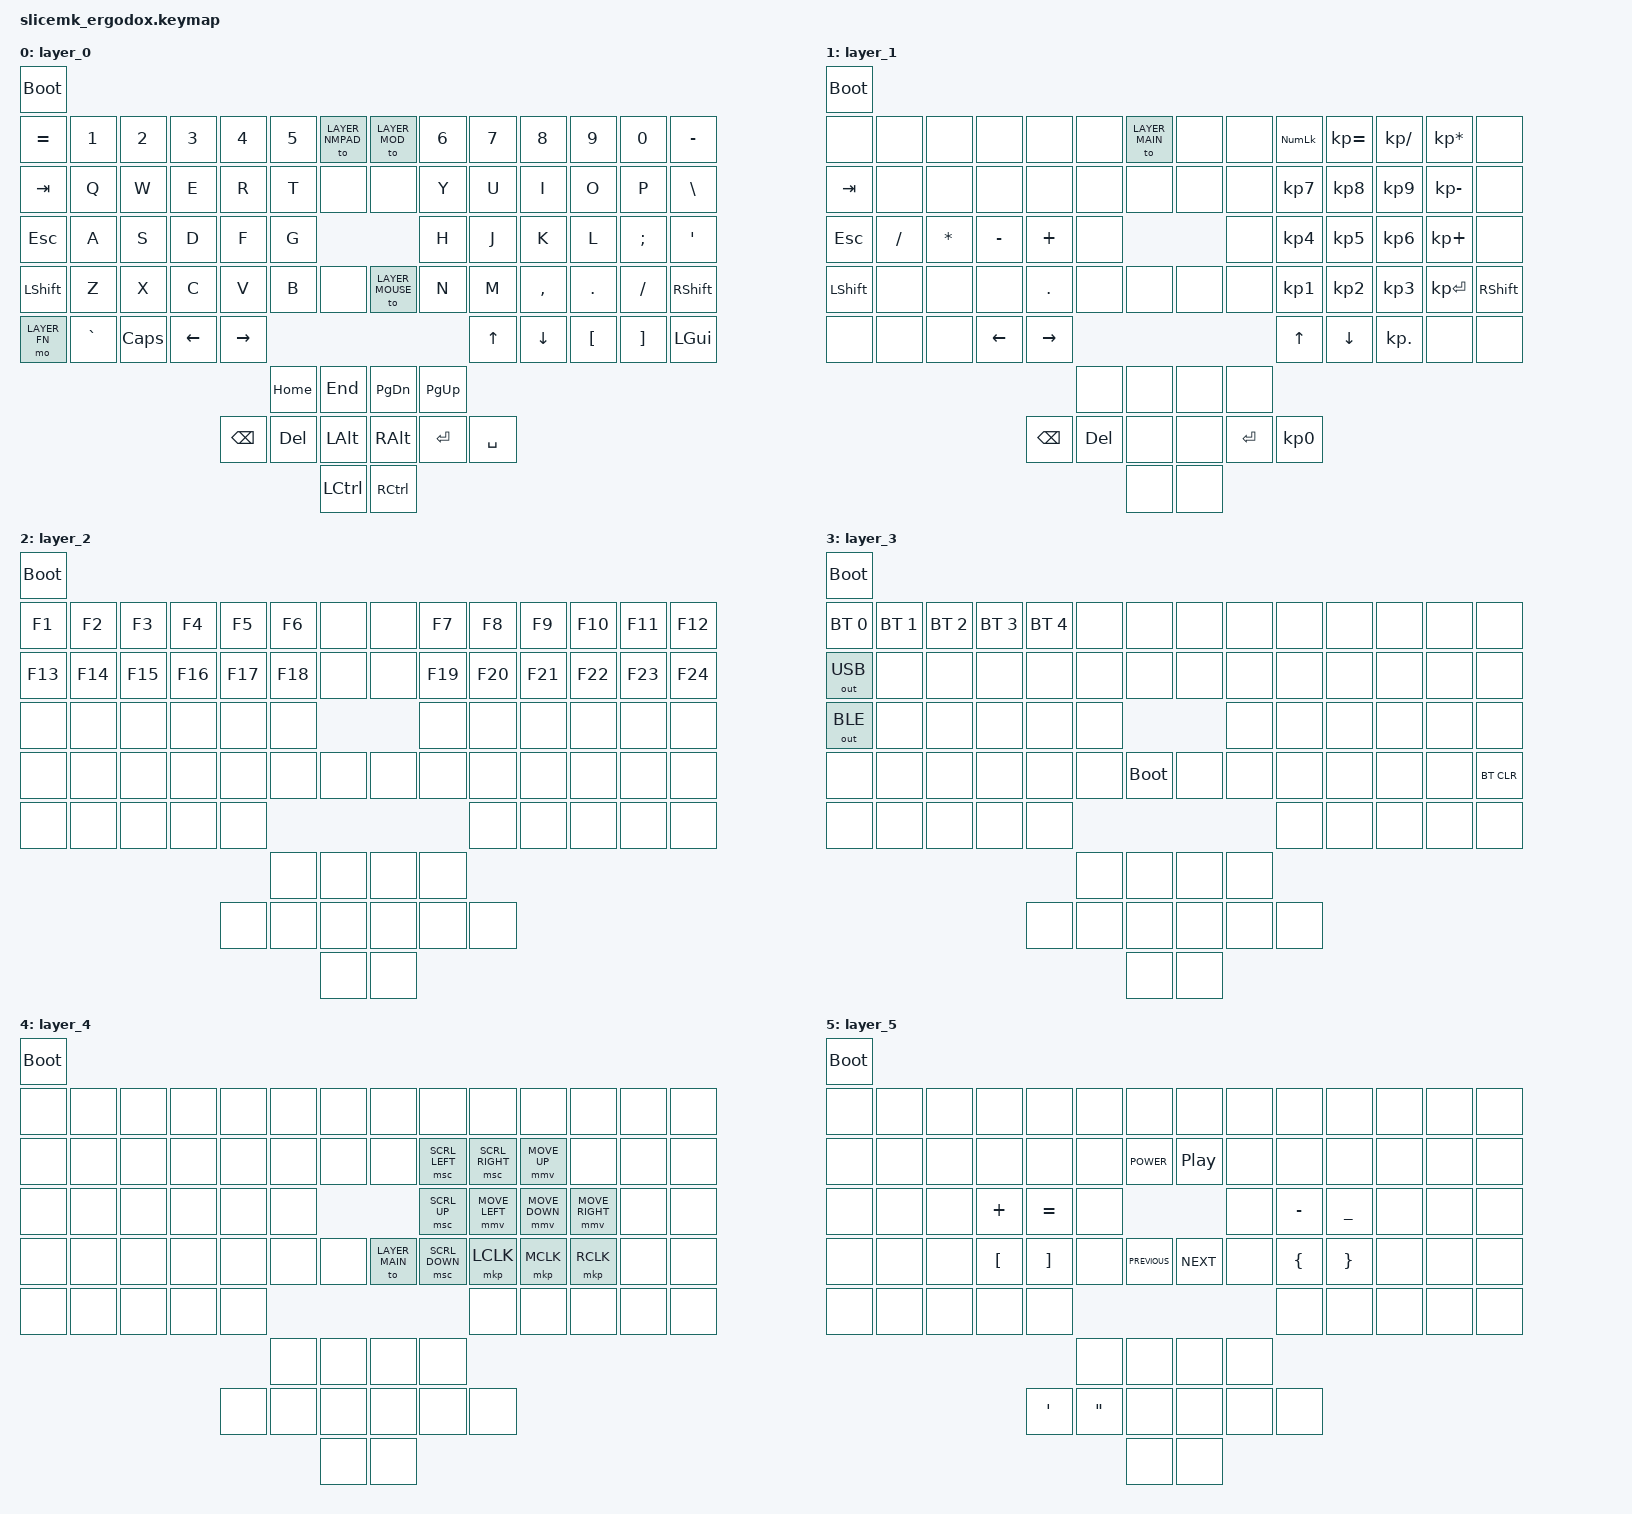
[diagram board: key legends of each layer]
#define LAYER_MAIN 0
#define LAYER_NMPAD 1
#define LAYER_FN 2
#define LAYER_MOD 3
#define LAYER_MOUSE 4
#define LAYER_SYMB 5

#include <behaviors.dtsi>
#include <dt-bindings/zmk/bt.h>
#include <dt-bindings/zmk/keys.h>
#include <dt-bindings/zmk/mouse.h>
#include <dt-bindings/zmk/outputs.h>
#include <dt-bindings/zmk/rgb.h>

/ {
    keymap {
        compatible = "zmk,keymap";
        layer_0 {
            bindings = <
                &bootloader
                &kp EQUAL      &kp NUMBER_1 &kp NUMBER_2 &kp NUMBER_3   &kp NUMBER_4    &kp NUMBER_5 &to LAYER_NMPAD  &to LAYER_MOD     &kp NUMBER_6 &kp NUMBER_7 &kp NUMBER_8   &kp NUMBER_9     &kp NUMBER_0      &kp MINUS
                &kp TAB        &kp Q        &kp W        &kp E          &kp R           &kp T        &none            &none             &kp Y        &kp U        &kp I          &kp O            &kp P             &kp BACKSLASH
                &kp ESCAPE     &kp A        &kp S        &kp D          &kp F           &kp G                                           &kp H        &kp J        &kp K          &kp L            &kp SEMICOLON     &kp SINGLE_QUOTE
                &kp LEFT_SHIFT &kp Z        &kp X        &kp C          &kp V           &kp B        &none            &to LAYER_MOUSE   &kp N        &kp M        &kp COMMA      &kp PERIOD       &kp SLASH         &kp RIGHT_SHIFT
                &mo LAYER_FN   &kp GRAVE    &kp CAPSLOCK &kp LEFT_ARROW &kp RIGHT_ARROW                                                              &kp UP_ARROW &kp DOWN_ARROW &kp LEFT_BRACKET &kp RIGHT_BRACKET &kp LEFT_GUI
                                                                                        &kp HOME     &kp END          &kp PAGE_DOWN     &kp PAGE_UP
                                                                        &kp BACKSPACE   &kp DELETE   &kp LEFT_ALT     &kp RIGHT_ALT     &kp RETURN   &kp SPACE
                                                                                                     &kp LEFT_CONTROL &kp RIGHT_CONTROL
            >;
        };
        layer_1 {
            bindings = <
                &bootloader
                &none          &none     &none        &none          &none           &none      &to LAYER_MAIN &none &none      &kp KP_NUMLOCK  &kp KP_EQUAL    &kp KP_DIVIDE   &kp KP_MULTIPLY &none
                &kp TAB        &none     &none        &none          &none           &none      &none          &none &none      &kp KP_NUMBER_7 &kp KP_NUMBER_8 &kp KP_NUMBER_9 &kp KP_MINUS    &none
                &kp ESCAPE     &kp SLASH &kp ASTERISK &kp MINUS      &kp PLUS        &none                           &none      &kp KP_NUMBER_4 &kp KP_NUMBER_5 &kp KP_NUMBER_6 &kp KP_PLUS     &none
                &kp LEFT_SHIFT &none     &none        &none          &kp PERIOD      &none      &none          &none &none      &kp KP_NUMBER_1 &kp KP_NUMBER_2 &kp KP_NUMBER_3 &kp KP_ENTER    &kp RIGHT_SHIFT
                &none          &none     &none        &kp LEFT_ARROW &kp RIGHT_ARROW                                            &kp UP_ARROW    &kp DOWN_ARROW  &kp KP_DOT      &none           &none
                                                                                     &none      &none          &none &none
                                                                     &kp BACKSPACE   &kp DELETE &none          &none &kp RETURN &kp KP_NUMBER_0
                                                                                                &none          &none
            >;
        };
        layer_2 {
            bindings = <
                &bootloader
                &kp F1  &kp F2  &kp F3  &kp F4  &kp F5  &kp F6  &none &none &kp F7  &kp F8  &kp F9  &kp F10 &kp F11 &kp F12
                &kp F13 &kp F14 &kp F15 &kp F16 &kp F17 &kp F18 &none &none &kp F19 &kp F20 &kp F21 &kp F22 &kp F23 &kp F24
                &none   &none   &none   &none   &none   &none               &none   &none   &none   &none   &none   &none
                &none   &none   &none   &none   &none   &none   &none &none &none   &none   &none   &none   &none   &none
                &none   &none   &none   &none   &none                               &none   &none   &none   &none   &none
                                                        &none   &none &none &none
                                                &none   &none   &none &none &none   &none
                                                                &none &none
            >;
        };
        layer_3 {
            bindings = <
                &bootloader
                &bt BT_SEL 0 &bt BT_SEL 1 &bt BT_SEL 2 &bt BT_SEL 3 &bt BT_SEL 4 &none &none       &none &none &none &none &none &none &none
                &out OUT_USB &none        &none        &none        &none        &none &none       &none &none &none &none &none &none &none
                &out OUT_BLE &none        &none        &none        &none        &none                   &none &none &none &none &none &none
                &none        &none        &none        &none        &none        &none &bootloader &none &none &none &none &none &none &bt BT_CLR
                &none        &none        &none        &none        &none                                      &none &none &none &none &none
                                                                                 &none &none       &none &none
                                                                    &none        &none &none       &none &none &none
                                                                                       &none       &none
            >;
        };
        layer_4 {
            bindings = <
                &bootloader
                &none &none &none &none &none &none &none &none          &none          &none           &none          &none           &none &none
                &none &none &none &none &none &none &none &none          &msc SCRL_LEFT &msc SCRL_RIGHT &mmv MOVE_UP   &none           &none &none
                &none &none &none &none &none &none                      &msc SCRL_UP   &mmv MOVE_LEFT  &mmv MOVE_DOWN &mmv MOVE_RIGHT &none &none
                &none &none &none &none &none &none &none &to LAYER_MAIN &msc SCRL_DOWN &mkp LCLK       &mkp MCLK      &mkp RCLK       &none &none
                &none &none &none &none &none                                           &none           &none          &none           &none &none
                                              &none &none &none          &none
                                        &none &none &none &none          &none          &none
                                                    &none &none
            >;
        };
        layer_5 {
            bindings = <
                &bootloader
                &none &none &none &none            &none             &none             &none          &none            &none &none          &none           &none &none &none
                &none &none &none &none            &none             &none             &kp C_POWER    &kp C_PLAY_PAUSE &none &none          &none           &none &none &none
                &none &none &none &kp PLUS         &kp EQUAL         &none                                             &none &kp MINUS      &kp UNDERSCORE  &none &none &none
                &none &none &none &kp LEFT_BRACKET &kp RIGHT_BRACKET &none             &kp C_PREVIOUS &kp C_NEXT       &none &kp LEFT_BRACE &kp RIGHT_BRACE &none &none &none
                &none &none &none &none            &none                                                                     &none          &none           &none &none &none
                                                                     &none             &none          &none            &none
                                                   &kp SINGLE_QUOTE  &kp DOUBLE_QUOTES &none          &none            &none &none
                                                                                       &none          &none
            >;
        };
    };
};
